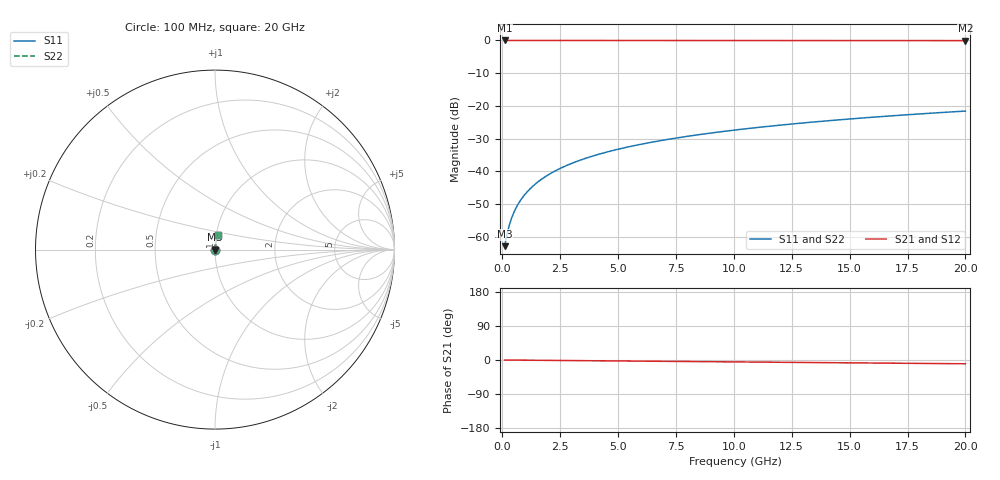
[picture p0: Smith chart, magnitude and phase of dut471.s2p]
! Touchstone file exported from HFSS 2026.1.0
!  File:  C:/ffzhzh/LocalFiles/Ansys_Project_Files/temp_train_TSV_471_1783022311_46388.aedt
!  Generated:  04:01:01 AM Jul  3, 2026
!  Design:  TSV
!  Project:  temp_train_TSV_471_1783022311_46388
! Variables:
!  h_bsmrdl = 2um
!  h_ox = 20um
!  h_rdl = 5um
!  h_sub = 87.49um
!  h_tmrdl = 5um
!  h_tsv = 87.49um
!  h_via = 3um
!  l_bsmrdl = 300um
!  l_sub = 408.8um
!  l_tmrdl = 200um
!  m_sub = 200um
!  pitch = 39.89um
!  r_tsv = 4.4um
!  s_tmrdl = 10um
!  w_bsmrdl = 18um
!  w_sub = 500um
!  w_tmrdl = 12um
!  x_tsv_center1 = 206um
!  x_tsv_center2 = 524um
!  x_tsv_center3 = 736um
!  x_tsv_center4 = 1054um
!  x_tsv_center5 = 1266um
!  x_tsv_center6 = 1584um
# GHz S MA R 50.000000
! Terminal data exported
! Port[1] = TSV1_1_T1
! Port[2] = TSV1_1_T2
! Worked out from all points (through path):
!   200 points, 100 MHz to 20 GHz, reference 50 ohm
!   highest |S21| = 0.00 dB at 100 MHz (marker M1); lowest = -0.1 dB at 20 GHz (marker M2)
!   group delay of S21, straight-line fit = 1.38 ps
!   lowest |S11| = -62.9 dB at 100 MHz (marker M3), VSWR 1.00, Z = 50.1 + j0.0462 ohm
!   |S11| at or under -10 dB: start of sweep to end of sweep
!   |S22| runs from -62.9 to -21.6 dB; largest |S21 - S12| = 4.3e-15
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0.1  0.0007147 40.2  0.9995 -0.1  0.9995 -0.1  0.0007147 40.2
! Gamma 0 0 0 0
! Port Impedance 50 0 50 0
0.2  0.001075 58.8  0.9994 -0.1  0.9994 -0.1  0.001075 58.8
0.3  0.001487 67.3  0.9994 -0.2  0.9994 -0.2  0.001487 67.3
0.4  0.001914 72.0  0.9994 -0.2  0.9994 -0.2  0.001914 72.0
0.5  0.002345 74.9  0.9994 -0.3  0.9994 -0.3  0.002345 74.9
0.6  0.002779 77.0  0.9994 -0.3  0.9994 -0.3  0.002779 77.0
0.8  0.003648 79.5  0.9994 -0.4  0.9994 -0.4  0.003648 79.5
1.1  0.004956 81.6  0.9993 -0.6  0.9993 -0.6  0.004956 81.6
1.5  0.006701 83.1  0.9992 -0.8  0.9992 -0.8  0.006701 83.1
1.8  0.008009 83.6  0.9992 -0.9  0.9992 -0.9  0.008009 83.6
2.1  0.009314 84.0  0.9991 -1.1  0.9991 -1.1  0.009314 84.0
2.7  0.01191 84.3  0.999 -1.4  0.999 -1.4  0.01191 84.3
3.5  0.01535 84.4  0.9989 -1.8  0.9989 -1.8  0.01535 84.4
4.2  0.01833 84.3  0.9987 -2.1  0.9987 -2.1  0.01833 84.3
5  0.0217 84.1  0.9985 -2.5  0.9985 -2.5  0.0217 84.1
5.9  0.02548 83.9  0.9983 -3.0  0.9983 -3.0  0.02548 83.9
6.8  0.02923 83.6  0.9981 -3.4  0.9981 -3.4  0.02923 83.6
8.3  0.03545 83.1  0.9977 -4.2  0.9977 -4.2  0.03545 83.1
10.1  0.04289 82.4  0.9972 -5.1  0.9972 -5.1  0.04289 82.4
13.4  0.05644 81.1  0.9963 -6.7  0.9963 -6.7  0.05644 81.1
16.7  0.06988 79.7  0.9952 -8.3  0.9952 -8.3  0.06988 79.7
20  0.0832 78.3  0.9939 -9.9  0.9939 -9.9  0.0832 78.3
